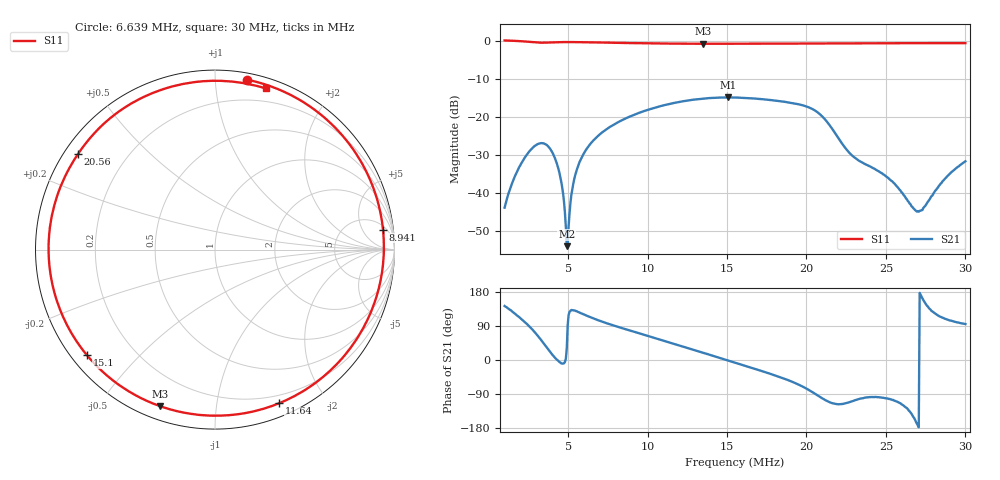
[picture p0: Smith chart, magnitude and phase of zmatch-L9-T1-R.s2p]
# HZ S RI R 50
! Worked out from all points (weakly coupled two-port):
!   505 points, 1 MHz to 30 MHz, reference 50 ohm
!   highest |S21| = -14.86 dB at 15.04 MHz (marker M1); lowest = -54.1 dB at 4.913 MHz (marker M2)
!   lowest |S11| = -0.7 dB at 13.49 MHz (marker M3), VSWR 25.39, Z = 2.95 - j35.3 ohm
!   |S11| at or under -10 dB: nowhere
!   S12 and S22 are empty: the file has one direction only
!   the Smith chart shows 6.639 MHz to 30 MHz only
!   S11 on the Smith chart (normalised r, x): 6.639 MHz: 0.05, +1.21; 8.941 MHz: 7, +13; 11.64 MHz: 0.12, -1.50; 15.1 MHz: 0.04, -0.36; 20.56 MHz: 0.04, +0.31; 30 MHz: 0.09, +1.36
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1000000  -0.6075 0.8207  -0.00505 0.00387  0 0  0 0
1978180  0.3386 0.9404  -0.00815 0.0213  0 0  0 0
2726200  0.9695 0.00528  0.00577 0.0379  0 0  0 0
3128980  0.605 -0.7396  0.021 0.039  0 0  0 0
3474220  -0.0869 -0.9505  0.0327 0.0304  0 0  0 0
4107160  -0.9059 -0.3338  0.0303 0.00467  0 0  0 0
4567480  -0.9484 0.2072  0.0137 -0.00216  0 0  0 0
4912720  -0.8276 0.5103  0.00169 0.00101  0 0  0 0
5833360  -0.3002 0.9219  -0.0157 0.0241  0 0  0 0
6638920  0.181 0.9462  -0.0163 0.0475  0 0  0 0
8940520  0.9361 0.1116  0.0227 0.1  0 0  0 0
1.066672e7  0.6924 -0.6234  0.0773 0.1121  0 0  0 0
1.16449e7  0.3582 -0.8557  0.1116 0.1041  0 0  0 0
1.348618e7  -0.308 -0.8714  0.1648 0.0574  0 0  0 0
1.503976e7  -0.7034 -0.6003  0.1808 -0.00354  0 0  0 0
1.50973e7  -0.714 -0.5876  0.1807 -0.00593  0 0  0 0
1.550008e7  -0.7804 -0.4965  0.1788 -0.0223  0 0  0 0
2.033344e7  -0.785 0.4993  0.014 -0.1276  0 0  0 0
2.05636e7  -0.7639 0.5319  0.000482 -0.1204  0 0  0 0
2.51668e7  -0.2326 0.9103  -0.0034 -0.0151  0 0  0 0
2.706562e7  -0.0133 0.9406  -0.00562 -0.000224  0 0  0 0
3.000016e7  0.2826 0.8979  -0.00223 0.0259  0 0  0 0
